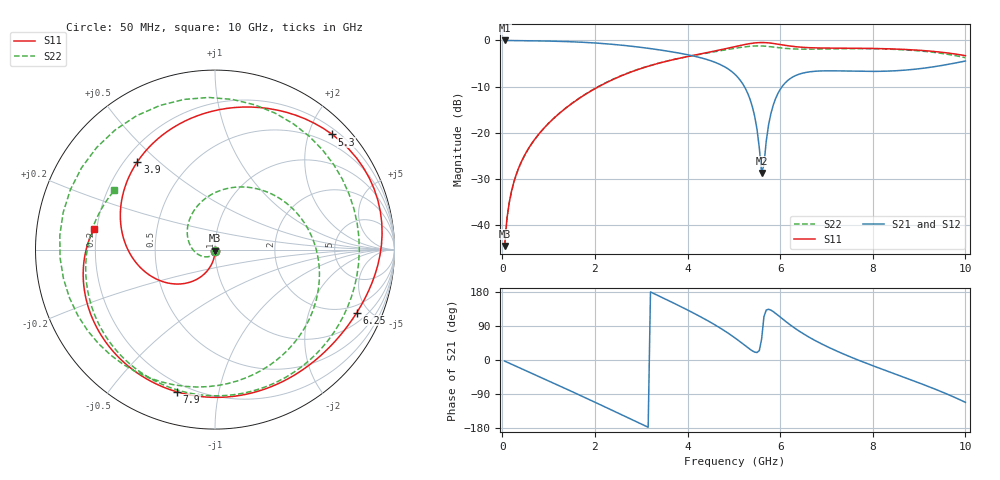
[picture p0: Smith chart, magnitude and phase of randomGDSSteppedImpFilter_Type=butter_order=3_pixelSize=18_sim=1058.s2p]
! freq	dB(S11)	phase(S11)	dB(S12)	phase(S12)
!  dB(S21)	phase(S21)	dB(S22)	phase(S22)
!S-par simulation data
#  GHz  S  DB  R 50
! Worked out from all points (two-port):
!   200 points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, 50 MHz to 10 GHz, reference 50 ohm
!   highest |S21| = -0.01 dB at 50 MHz (marker M1); lowest = -28.7 dB at 5.6 GHz (marker M2)
!   |S21| within 3 dB of the highest: start of sweep to 3.955 GHz
!   lowest |S11| = -44.5 dB at 50 MHz (marker M3), VSWR 1.01, Z = 50 - j0.595 ohm
!   |S11| at or under -10 dB: start of sweep to 2.083 GHz
!   |S22| runs from -44.6 to -1.2 dB; largest |S21 - S12| = 0
!   S11 on the Smith chart (normalised r, x): 50 MHz: 1.00, -0.01; 3.9 GHz: 0.25, +0.43; 5.3 GHz: 0.30, +2.41; 6.25 GHz: 1.51, -4.20; 7.9 GHz: 0.16, -0.76; 10 GHz: 0.19, +0.08
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0.05  -44.51 -88.1  -0.01 -2.8  -0.01 -2.8  -44.57 -92.1
0.2  -32.63 -92.9  -0.02 -11.0  -0.02 -11.0  -32.70 -108.3
0.45  -25.49 -98.1  -0.05 -24.8  -0.05 -24.8  -25.55 -132.3
1.15  -16.52 -113.8  -0.17 -63.5  -0.17 -63.5  -16.50 165.0
1.75  -11.97 -131.7  -0.41 -97.2  -0.41 -97.2  -11.92 115.5
2.6  -7.54 -164.8  -1.05 -145.8  -1.05 -145.8  -7.49 51.7
3.4  -4.88 157.5  -2.06 167.9  -2.06 167.9  -4.86 -2.9
3.9  -3.70 131.4  -2.90 138.1  -2.90 138.1  -3.71 -36.3
4.6  -2.27 91.4  -4.76 92.2  -4.76 92.2  -2.42 -88.7
5.05  -1.29 62.5  -7.60 56.1  -7.60 56.1  -1.66 -134.6
5.3  -0.77 44.5  -11.47 32.8  -11.47 32.8  -1.31 -169.1
5.5  -0.50 28.9  -19.23 19.7  -19.23 19.7  -1.19 157.5
5.6  -0.46 20.9  -28.69 55.5  -28.69 55.5  -1.20 139.2
5.75  -0.53 9.1  -18.30 133.9  -18.30 133.9  -1.31 110.9
5.9  -0.72 -1.9  -12.63 123.2  -12.63 123.2  -1.49 83.4
6.25  -1.26 -23.9  -8.05 89.7  -8.05 89.7  -1.82 28.9
6.7  -1.60 -48.0  -6.73 55.0  -6.73 55.0  -1.89 -19.2
7.25  -1.67 -75.2  -6.60 22.1  -6.60 22.1  -1.80 -58.4
7.9  -1.72 -105.0  -6.71 -10.4  -6.71 -10.4  -1.79 -93.2
8.35  -1.82 -124.4  -6.64 -31.0  -6.64 -31.0  -1.89 -114.7
9.3  -2.37 -163.0  -5.73 -74.7  -5.73 -74.7  -2.56 -162.7
10  -3.30 170.4  -4.46 -111.7  -4.46 -111.7  -3.74 149.5
